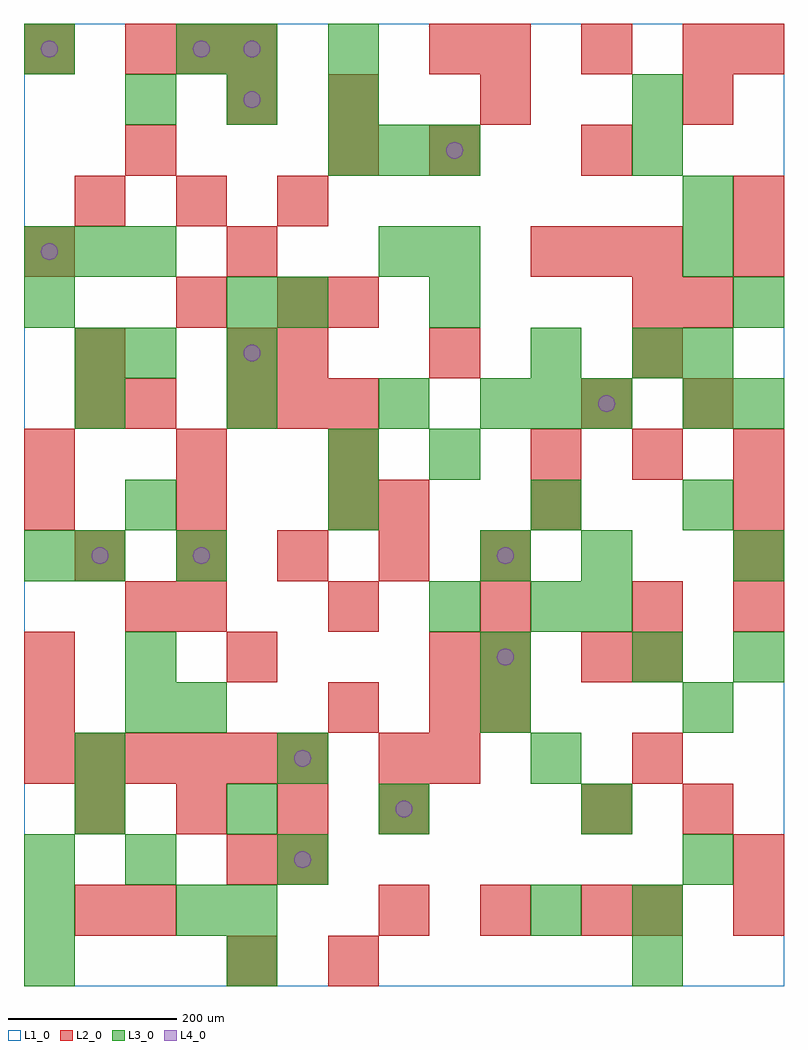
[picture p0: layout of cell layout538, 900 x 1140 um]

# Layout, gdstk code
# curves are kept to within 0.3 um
import gdstk
lib = gdstk.Library(unit=1e-6, precision=1e-09)
def R(c, l, rs):  # rectangles x0, y0, x1, y1
    for r in rs: c.add(gdstk.rectangle(r[:2], r[2:], *l))
def A(c, l, x, y, w, h, nx, ny, dx, dy):  # array of equal rectangles
    R(c, l, [(x+i*dx, y+j*dy, x+i*dx+w, y+j*dy+h) for i in range(nx) for j in range(ny)])
def P(c, l, *ps):  # polygons
    for p in ps: c.add(gdstk.Polygon(p, *l))
L1_0 = (1, 0)
L2_0 = (2, 0)
L3_0 = (3, 0)
L4_0 = (4, 0)

layout538 = lib.new_cell('layout538')
R(layout538, L1_0, [(0,0,900,1140)])
A(layout538, L2_0, 420, 60, 60, 60, 3, 1, 120, 0)
A(layout538, L2_0, 60, 180, 60, 60, 4, 1, 120, 0)
A(layout538, L2_0, 0, 240, 60, 60, 6, 1, 60, 0)
A(layout538, L2_0, 0, 360, 60, 60, 3, 1, 240, 0)
A(layout538, L2_0, 660, 360, 60, 60, 1, 3, 0, 300)
A(layout538, L2_0, 180, 420, 60, 60, 4, 1, 180, 0)
A(layout538, L2_0, 840, 420, 60, 60, 1, 3, 0, 60)
A(layout538, L2_0, 60, 480, 60, 60, 5, 1, 120, 0)
A(layout538, L2_0, 0, 540, 60, 60, 3, 2, 180, 60)
A(layout538, L2_0, 600, 600, 60, 60, 3, 1, 120, 0)
A(layout538, L2_0, 240, 660, 60, 60, 3, 1, 60, 0)
A(layout538, L2_0, 600, 840, 60, 60, 3, 1, 60, 0)
A(layout538, L2_0, 60, 900, 60, 60, 3, 1, 120, 0)
A(layout538, L2_0, 120, 1080, 60, 60, 3, 1, 60, 0)
A(layout538, L2_0, 540, 1080, 60, 60, 3, 1, 120, 0)
R(layout538, L2_0, [(240,0,300,60), (360,0,420,60), (60,60,120,120), (120,60,180,120), (720,60,780,120), (840,60,900,120), (240,120,300,180), (300,120,360,180), (840,120,900,180), (660,180,720,240), (780,180,840,240), (420,240,480,300), (480,240,540,300), (720,240,780,300), (0,300,60,360), (360,300,420,360), (480,300,540,360), (540,300,600,360), (540,360,600,420), (720,360,780,420), (120,420,180,480), (420,540,480,600), (600,540,660,600), (60,660,120,720), (120,660,180,720), (780,660,840,720), (60,720,120,780), (240,720,300,780), (300,720,360,780), (480,720,540,780), (720,720,780,780), (180,780,240,840), (300,780,360,840), (360,780,420,840), (720,780,780,840), (780,780,840,840), (0,840,60,900), (240,840,300,900), (840,840,900,900), (840,900,900,960), (120,960,180,1020), (360,960,420,1020), (480,960,540,1020), (240,1020,300,1080), (360,1020,420,1080), (540,1020,600,1080), (780,1020,840,1080), (0,1080,60,1140), (480,1080,540,1140), (840,1080,900,1140)])
A(layout538, L3_0, 0, 0, 60, 60, 1, 3, 0, 60)
A(layout538, L3_0, 600, 60, 60, 60, 1, 3, 0, 180)
A(layout538, L3_0, 60, 180, 60, 60, 3, 2, 180, 480)
A(layout538, L3_0, 60, 240, 60, 60, 1, 3, 0, 240)
A(layout538, L3_0, 480, 420, 60, 60, 1, 3, 0, 180)
A(layout538, L3_0, 0, 480, 60, 60, 1, 3, 0, 300)
A(layout538, L3_0, 120, 540, 60, 60, 3, 1, 240, 0)
A(layout538, L3_0, 540, 660, 60, 60, 3, 1, 60, 0)
A(layout538, L3_0, 0, 840, 60, 60, 3, 1, 60, 0)
A(layout538, L3_0, 360, 960, 60, 60, 3, 1, 60, 0)
A(layout538, L3_0, 120, 1020, 60, 60, 3, 1, 120, 0)
R(layout538, L3_0, [(240,0,300,60), (720,0,780,60), (180,60,240,120), (240,60,300,120), (720,60,780,120), (120,120,180,180), (300,120,360,180), (780,120,840,180), (660,180,720,240), (300,240,360,300), (120,300,180,360), (180,300,240,360), (540,300,600,360), (780,300,840,360), (120,360,180,420), (540,360,600,420), (720,360,780,420), (840,360,900,420), (660,420,720,480), (180,480,240,540), (540,480,600,540), (660,480,720,540), (840,480,900,540), (780,540,840,600), (360,600,420,660), (780,660,840,720), (840,660,900,720), (120,720,180,780), (240,720,300,780), (600,720,660,780), (720,720,780,780), (780,720,840,780), (240,780,300,840), (300,780,360,840), (840,780,900,840), (420,840,480,900), (480,840,540,900), (780,840,840,900), (780,900,840,960), (720,960,780,1020), (720,1020,780,1080), (180,1080,240,1140), (240,1080,300,1140), (360,1080,420,1140)])
P(layout538, L4_0, [(40,870),(39.239,873.827),(37.071,877.071),(33.827,879.239),(30,880),(26.173,879.239),(22.929,877.071),(20.761,873.827),(20,870),(20.761,866.173),(22.929,862.929),(26.173,860.761),(30,860),(33.827,860.761),(37.071,862.929),(39.239,866.173)],
  [(40,1110),(39.239,1113.827),(37.071,1117.071),(33.827,1119.239),(30,1120),(26.173,1119.239),(22.929,1117.071),(20.761,1113.827),(20,1110),(20.761,1106.173),(22.929,1102.929),(26.173,1100.761),(30,1100),(33.827,1100.761),(37.071,1102.929),(39.239,1106.173)],
  [(100,510),(99.239,513.827),(97.071,517.071),(93.827,519.239),(90,520),(86.173,519.239),(82.929,517.071),(80.761,513.827),(80,510),(80.761,506.173),(82.929,502.929),(86.173,500.761),(90,500),(93.827,500.761),(97.071,502.929),(99.239,506.173)],
  [(220,510),(219.239,513.827),(217.071,517.071),(213.827,519.239),(210,520),(206.173,519.239),(202.929,517.071),(200.761,513.827),(200,510),(200.761,506.173),(202.929,502.929),(206.173,500.761),(210,500),(213.827,500.761),(217.071,502.929),(219.239,506.173)],
  [(220,1110),(219.239,1113.827),(217.071,1117.071),(213.827,1119.239),(210,1120),(206.173,1119.239),(202.929,1117.071),(200.761,1113.827),(200,1110),(200.761,1106.173),(202.929,1102.929),(206.173,1100.761),(210,1100),(213.827,1100.761),(217.071,1102.929),(219.239,1106.173)],
  [(280,750),(279.239,753.827),(277.071,757.071),(273.827,759.239),(270,760),(266.173,759.239),(262.929,757.071),(260.761,753.827),(260,750),(260.761,746.173),(262.929,742.929),(266.173,740.761),(270,740),(273.827,740.761),(277.071,742.929),(279.239,746.173)],
  [(280,1050),(279.239,1053.827),(277.071,1057.071),(273.827,1059.239),(270,1060),(266.173,1059.239),(262.929,1057.071),(260.761,1053.827),(260,1050),(260.761,1046.173),(262.929,1042.929),(266.173,1040.761),(270,1040),(273.827,1040.761),(277.071,1042.929),(279.239,1046.173)],
  [(280,1110),(279.239,1113.827),(277.071,1117.071),(273.827,1119.239),(270,1120),(266.173,1119.239),(262.929,1117.071),(260.761,1113.827),(260,1110),(260.761,1106.173),(262.929,1102.929),(266.173,1100.761),(270,1100),(273.827,1100.761),(277.071,1102.929),(279.239,1106.173)],
  [(340,150),(339.239,153.827),(337.071,157.071),(333.827,159.239),(330,160),(326.173,159.239),(322.929,157.071),(320.761,153.827),(320,150),(320.761,146.173),(322.929,142.929),(326.173,140.761),(330,140),(333.827,140.761),(337.071,142.929),(339.239,146.173)],
  [(340,270),(339.239,273.827),(337.071,277.071),(333.827,279.239),(330,280),(326.173,279.239),(322.929,277.071),(320.761,273.827),(320,270),(320.761,266.173),(322.929,262.929),(326.173,260.761),(330,260),(333.827,260.761),(337.071,262.929),(339.239,266.173)],
  [(460,210),(459.239,213.827),(457.071,217.071),(453.827,219.239),(450,220),(446.173,219.239),(442.929,217.071),(440.761,213.827),(440,210),(440.761,206.173),(442.929,202.929),(446.173,200.761),(450,200),(453.827,200.761),(457.071,202.929),(459.239,206.173)],
  [(520,990),(519.239,993.827),(517.071,997.071),(513.827,999.239),(510,1000),(506.173,999.239),(502.929,997.071),(500.761,993.827),(500,990),(500.761,986.173),(502.929,982.929),(506.173,980.761),(510,980),(513.827,980.761),(517.071,982.929),(519.239,986.173)],
  [(580,390),(579.239,393.827),(577.071,397.071),(573.827,399.239),(570,400),(566.173,399.239),(562.929,397.071),(560.761,393.827),(560,390),(560.761,386.173),(562.929,382.929),(566.173,380.761),(570,380),(573.827,380.761),(577.071,382.929),(579.239,386.173)],
  [(580,510),(579.239,513.827),(577.071,517.071),(573.827,519.239),(570,520),(566.173,519.239),(562.929,517.071),(560.761,513.827),(560,510),(560.761,506.173),(562.929,502.929),(566.173,500.761),(570,500),(573.827,500.761),(577.071,502.929),(579.239,506.173)],
  [(700,690),(699.239,693.827),(697.071,697.071),(693.827,699.239),(690,700),(686.173,699.239),(682.929,697.071),(680.761,693.827),(680,690),(680.761,686.173),(682.929,682.929),(686.173,680.761),(690,680),(693.827,680.761),(697.071,682.929),(699.239,686.173)])

lib.write_gds('layout538.gds')
